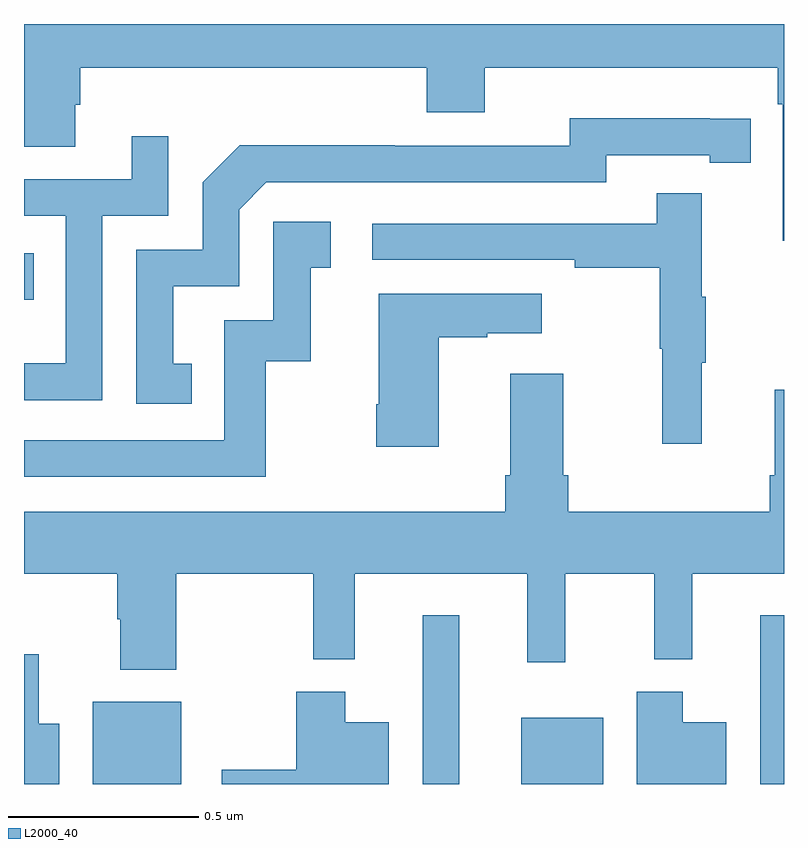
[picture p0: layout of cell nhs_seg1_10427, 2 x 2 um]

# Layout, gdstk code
import gdstk
lib = gdstk.Library(unit=1e-6, precision=1e-09)
def R(c, l, rs):  # rectangles x0, y0, x1, y1
    for r in rs: c.add(gdstk.rectangle(r[:2], r[2:], *l))
def P(c, l, *ps):  # polygons
    for p in ps: c.add(gdstk.Polygon(p, *l))
L2000_40 = (2000, 40)

nhs_seg1_10427 = lib.new_cell('nhs_seg1_10427')
R(nhs_seg1_10427, L2000_40, [(241.181,531.199,241.414,531.415), (242.049,531.199,242.146,531.643), (242.309,531.199,242.524,531.373), (242.937,531.199,243,531.643), (241,532.473,241.025,532.596)])
P(nhs_seg1_10427, L2000_40, [(241,532.876),(241.135,532.876),(241.135,532.986),(241.148,532.986),(241.148,533.084),(242.06,533.084),(242.06,532.967),(242.212,532.967),(242.212,533.084),(242.984,533.084),(242.984,532.988),(242.997,532.988),(242.997,532.629),(243,532.629),(243,533.199),(241,533.199)],
  [(241.442,532.305),(241.393,532.305),(241.393,532.509),(241.566,532.509),(241.566,532.71),(241.638,532.782),(242.532,532.782),(242.532,532.854),(242.804,532.854),(242.804,532.834),(242.912,532.834),(242.912,532.95),(242.804,532.95),(242.804,532.951),(242.436,532.951),(242.436,532.878),(241.976,532.878),(241.976,532.88),(241.568,532.88),(241.47,532.782),(241.47,532.605),(241.296,532.605),(241.296,532.2),(241.442,532.2)],
  [(241.206,532.695),(241.38,532.695),(241.38,532.903),(241.283,532.903),(241.283,532.791),(241,532.791),(241,532.695),(241.11,532.695),(241.11,532.306),(241,532.306),(241,532.209),(241.206,532.209)],
  [(242.783,532.307),(242.794,532.307),(242.794,532.481),(242.783,532.481),(242.783,532.753),(242.665,532.753),(242.665,532.674),(241.917,532.674),(241.917,532.578),(242.449,532.578),(242.449,532.558),(242.673,532.558),(242.673,532.344),(242.68,532.344),(242.68,532.095),(242.783,532.095)],
  [(241.636,532.311),(241.754,532.311),(241.754,532.557),(241.807,532.557),(241.807,532.678),(241.656,532.678),(241.656,532.419),(241.527,532.419),(241.527,532.104),(241,532.104),(241,532.008),(241.636,532.008)],
  [(242.092,532.375),(242.219,532.375),(242.219,532.385),(242.362,532.385),(242.362,532.489),(241.934,532.489),(241.934,532.198),(241.927,532.198),(241.927,532.086),(242.092,532.086)],
  [(243,532.237),(242.975,532.237),(242.975,532.012),(242.963,532.012),(242.963,531.916),(242.432,531.916),(242.432,532.012),(242.419,532.012),(242.419,532.279),(242.279,532.279),(242.279,532.012),(242.267,532.012),(242.267,531.916),(241,531.916),(241,531.752),(241.246,531.752),(241.246,531.632),(241.253,531.632),(241.253,531.5),(241.401,531.5),(241.401,531.752),(241.761,531.752),(241.761,531.527),(241.871,531.527),(241.871,531.752),(242.324,531.752),(242.324,531.519),(242.424,531.519),(242.424,531.752),(242.659,531.752),(242.659,531.527),(242.759,531.527),(242.759,531.752),(243,531.752)],
  [(241.093,531.358),(241.039,531.358),(241.039,531.541),(241,531.541),(241,531.199),(241.093,531.199)],
  [(242.848,531.361),(242.734,531.361),(242.734,531.442),(242.612,531.442),(242.612,531.199),(242.848,531.199)],
  [(241.96,531.361),(241.846,531.361),(241.846,531.442),(241.717,531.442),(241.717,531.236),(241.521,531.236),(241.521,531.199),(241.96,531.199)])

lib.write_gds('nhs_seg1_10427.gds')
